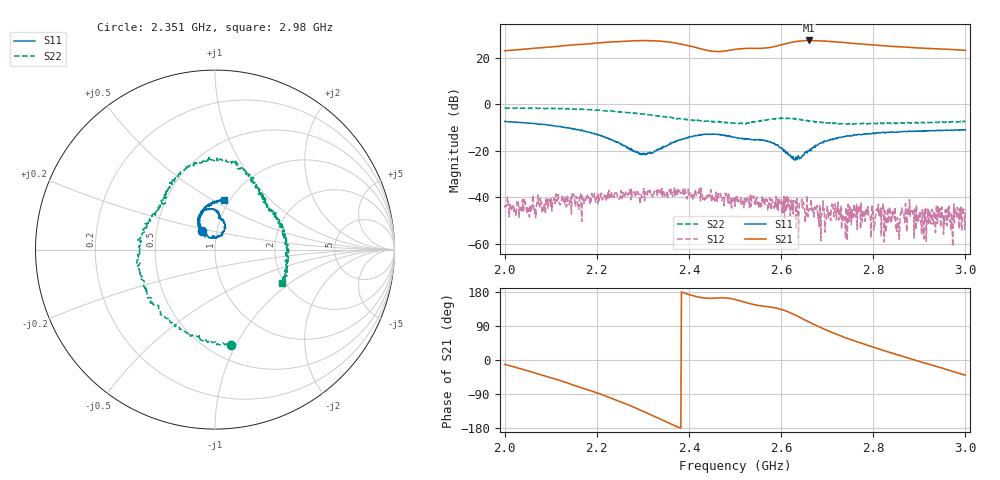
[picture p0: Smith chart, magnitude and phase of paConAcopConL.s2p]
!Agilent Technologies,E8364A,US41440144,A.06.04.32
!Agilent E8364A: A.06.04.32
!Date: Wednesday, January 31, 2018 11:54:19
!Correction: S11(Full 2 Port(1,2)) S21(Full 2 Port(1,2)) S12(Full 2 Port(1,2)) S22(Full 2 Port(1,2))
!S2P File: Measurements: S11, S21, S12, S22:
# Hz S  dB  R 50
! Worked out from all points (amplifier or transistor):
!   801 points, 2 GHz to 3 GHz, reference 50 ohm
!   highest |S21| = 27.5 dB at 2.661 GHz (marker M1)
!   |S21| within 3 dB of that: 2.088 GHz to 2.415 GHz (327.3 MHz wide, 14.5 % of centre)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
!   unconditionally stable (mu >= 1): 2.046094 GHz to 2.054954 GHz; 2.243653 GHz to 2.251815 GHz; 2.275 GHz to end of sweep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
!   at 2.166 GHz: K = 1.54, MAG = 31.2 dB, |S12| = -45.2 dB
!   at 2.5 GHz: K = 4.12, MAG = 24.6 dB, |S12| = -43.8 dB
!   at 3 GHz: K = 4.63, MAG = 24.5 dB, |S12| = -44.9 dB
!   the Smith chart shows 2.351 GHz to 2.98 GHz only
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2e9  -7.31 125.5  23.08 -11.5  -44.33 -121.2  -1.58 97.7
2.09e9  -8.87 101.8  24.55 -43.3  -40.10 166.8  -1.76 70.3
2.1675e9  -10.87 82.4  25.85 -73.6  -50.29 91.9  -1.99 39.9
2.2175e9  -14.04 69.9  26.67 -94.5  -39.92 149.1  -2.64 15.8
2.2575e9  -17.82 68.6  27.13 -113.3  -38.26 146.3  -3.22 -7.0
2.29125e9  -21.35 86.2  27.43 -130.4  -38.40 139.5  -3.99 -30.4
2.33375e9  -19.46 122.1  27.26 -153.6  -37.96 113.2  -5.14 -63.4
2.36375e9  -16.43 126.8  26.63 -170.3  -38.91 109.5  -5.78 -89.4
2.40375e9  -13.84 117.2  25.06 171.3  -39.12 81.0  -6.67 -130.7
2.45375e9  -12.83 97.0  22.78 163.4  -40.61 55.9  -7.56 -176.5
2.5e9  -14.17 84.0  23.63 159.7  -43.81 47.3  -8.09 148.2
2.58e9  -16.58 68.2  24.68 139.1  -40.83 3.6  -6.31 109.1
2.61125e9  -20.39 67.7  26.18 129.3  -46.02 0.2  -6.22 88.5
2.635e9  -23.71 103.0  27.08 116.0  -40.53 -14.8  -6.51 72.5
2.66125e9  -19.97 122.6  27.50 99.8  -44.94 15.3  -7.31 62.5
2.6675e9  -18.84 126.6  27.48 95.9  -43.90 -9.3  -7.33 59.6
2.7e9  -15.75 123.1  27.12 78.1  -43.83 -2.5  -7.96 51.2
2.73875e9  -13.89 113.1  26.56 58.9  -50.02 24.3  -8.18 40.3
2.78625e9  -12.52 104.8  25.76 39.1  -46.32 -47.0  -8.32 28.9
2.83375e9  -12.07 97.5  25.05 20.5  -51.10 -26.7  -8.13 15.8
2.91e9  -11.51 87.3  24.16 -7.3  -57.85 -34.1  -7.70 -8.1
3e9  -10.93 77.6  23.30 -39.7  -44.94 -48.2  -7.24 -34.2
